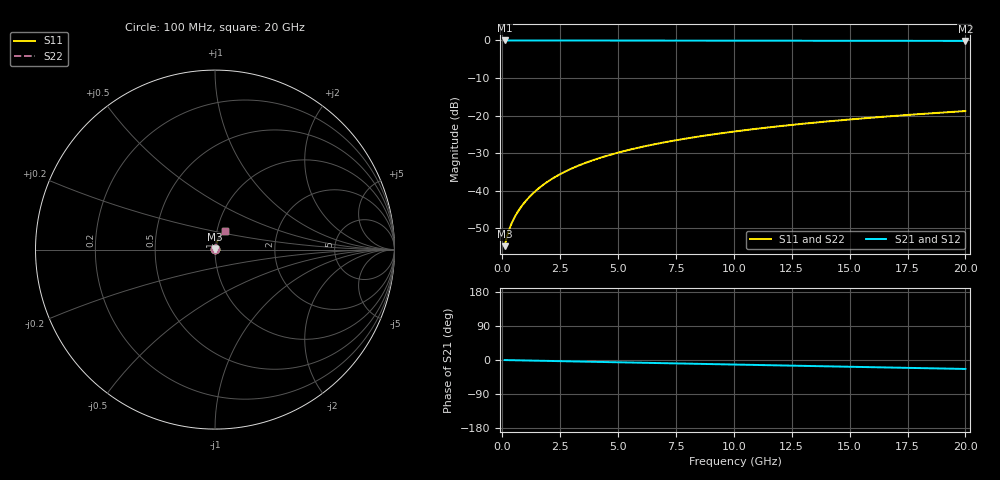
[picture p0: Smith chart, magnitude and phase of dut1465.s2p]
! Touchstone file exported from HFSS 2026.1.0
!  File:  C:/ffzhzh/LocalFiles/Ansys_Project_Files/temp_train_TMRDL_1465_1783167419_18472.aedt
!  Generated:  08:18:05 PM Jul  4, 2026
!  Design:  TMRDL
!  Project:  temp_train_TMRDL_1465_1783167419_18472
! Variables:
!  h_bsmrdl = 2um
!  h_ox = 20um
!  h_rdl = 5um
!  h_sub = 80um
!  h_tmrdl = 3.84um
!  h_tsv = 80um
!  h_via = 3um
!  l_bsmrdl = 300um
!  l_sub = 784.74um
!  l_tmrdl = 384.74um
!  m_sub = 200um
!  pitch = 36.79um
!  r_tsv = 6um
!  s_tmrdl = 10um
!  w_bsmrdl = 18um
!  w_sub = 500um
!  w_tmrdl = 26.35um
!  x_tsv_center1 = 397.915um
!  x_tsv_center2 = 715.915um
!  x_tsv_center3 = 1127.005um
!  x_tsv_center4 = 1445.005um
!  x_tsv_center5 = 1856.095um
!  x_tsv_center6 = 2174.095um
# GHz S MA R 50.000000
! Terminal data exported
! Port[1] = TM_RDL1_1_T1
! Port[2] = TM_RDL1_1_T2
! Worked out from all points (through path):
!   200 points, 100 MHz to 20 GHz, reference 50 ohm
!   highest |S21| = -0.01 dB at 100 MHz (marker M1); lowest = -0.1 dB at 20 GHz (marker M2)
!   group delay of S21, straight-line fit = 3.27 ps
!   lowest |S11| = -54.7 dB at 100 MHz (marker M3), VSWR 1.00, Z = 50.2 + j0.089 ohm
!   |S11| at or under -10 dB: start of sweep to end of sweep
!   |S22| runs from -54.7 to -18.8 dB; largest |S21 - S12| = 2e-15
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0.1  0.001834 28.9  0.9984 -0.1  0.9984 -0.1  0.001834 28.9
! Gamma 0 0 0 0
! Port Impedance 50 0 50 0
0.2  0.00244 43.6  0.9982 -0.3  0.9982 -0.3  0.00244 43.6
0.3  0.003072 51.0  0.9981 -0.4  0.9981 -0.4  0.003072 51.0
0.4  0.003677 55.7  0.998 -0.5  0.998 -0.5  0.003676 55.7
0.5  0.004264 59.2  0.9979 -0.6  0.9979 -0.6  0.004263 59.2
0.6  0.004848 62.1  0.9978 -0.8  0.9978 -0.8  0.004847 62.1
0.8  0.006028 66.5  0.9977 -1.0  0.9977 -1.0  0.006027 66.5
1  0.007233 69.6  0.9976 -1.2  0.9976 -1.2  0.007232 69.6
1.2  0.008461 71.8  0.9976 -1.5  0.9976 -1.5  0.00846 71.8
1.7  0.01159 75.1  0.9974 -2.1  0.9974 -2.1  0.01159 75.1
2.2  0.01475 76.6  0.9972 -2.7  0.9972 -2.7  0.01475 76.6
2.8  0.01854 77.4  0.9969 -3.4  0.9969 -3.4  0.01854 77.4
3.5  0.02293 77.6  0.9965 -4.3  0.9965 -4.3  0.02293 77.6
4.2  0.02728 77.4  0.9961 -5.1  0.9961 -5.1  0.02728 77.4
5  0.03217 76.9  0.9956 -6.1  0.9956 -6.1  0.03217 76.9
5.9  0.03759 76.2  0.995 -7.1  0.995 -7.1  0.03759 76.2
6.8  0.04292 75.4  0.9943 -8.2  0.9943 -8.2  0.04292 75.4
8.3  0.05164 74.0  0.9933 -10.0  0.9933 -10.0  0.05164 74.0
10.1  0.06187 72.2  0.992 -12.1  0.992 -12.1  0.06187 72.3
13.4  0.08014 68.9  0.9896 -16.0  0.9896 -16.0  0.08014 68.9
16.7  0.09782 65.5  0.9872 -19.8  0.9872 -19.8  0.09782 65.5
20  0.1149 62.0  0.9846 -23.6  0.9846 -23.6  0.1149 62.1
